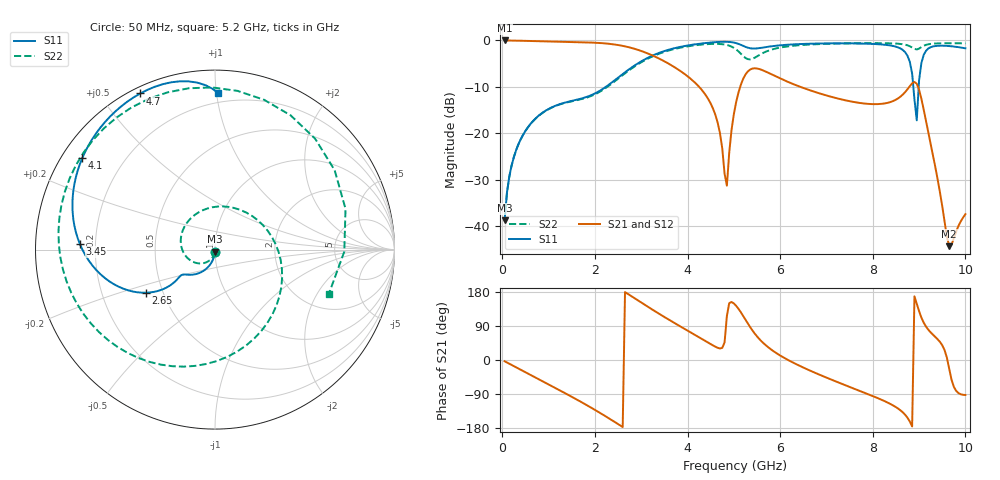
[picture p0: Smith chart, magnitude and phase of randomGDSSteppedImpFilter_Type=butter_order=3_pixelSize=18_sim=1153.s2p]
! freq	dB(S11)	phase(S11)	dB(S12)	phase(S12)
!  dB(S21)	phase(S21)	dB(S22)	phase(S22)
!S-par simulation data
#  GHz  S  DB  R 50
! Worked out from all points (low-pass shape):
!   200 points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, 50 MHz to 10 GHz, reference 50 ohm
!   highest |S21| = -0.01 dB at 50 MHz (marker M1); lowest = -44.3 dB at 9.65 GHz (marker M2)
!   |S21| within 3 dB of the highest: start of sweep to 3.189 GHz
!   lowest |S11| = -38.8 dB at 50 MHz (marker M3), VSWR 1.02, Z = 49.9 - j1.15 ohm
!   |S11| at or under -10 dB: start of sweep to 2.236 GHz; 8.876 GHz to 8.992 GHz (115.9 MHz wide, 1.3 % of centre)
!   |S22| runs from -38.8 to -0.6 dB; largest |S21 - S12| = 0
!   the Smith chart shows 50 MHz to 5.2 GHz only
!   S11 on the Smith chart (normalised r, x): 50 MHz: 1.00, -0.02; 2.65 GHz: 0.40, -0.24; 3.45 GHz: 0.14, +0.02; 4.1 GHz: 0.06, +0.31; 4.7 GHz: 0.03, +0.63; 5.2 GHz: 0.14, +1.01
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0.05  -38.76 -91.9  -0.01 -3.3  -0.01 -3.3  -38.76 -93.9
0.2  -26.97 -99.1  -0.03 -13.0  -0.03 -13.0  -27.00 -107.4
0.5  -19.47 -112.1  -0.09 -32.3  -0.09 -32.3  -19.50 -133.6
1.75  -12.39 -142.7  -0.40 -114.0  -0.40 -114.0  -12.53 93.6
2.65  -6.86 -148.0  -1.28 179.2  -1.28 179.2  -7.08 -35.6
3.4  -2.63 -180.0  -3.98 120.9  -3.98 120.9  -2.81 -120.2
3.45  -2.45 177.6  -4.24 117.2  -4.24 117.2  -2.63 -125.2
4.1  -0.93 145.4  -8.54 70.6  -8.54 70.6  -1.13 173.4
4.7  -0.31 115.5  -19.95 30.4  -19.95 30.4  -0.77 106.8
4.85  -0.30 107.4  -31.28 116.4  -31.28 116.4  -0.98 81.9
5.05  -0.58 96.0  -13.28 143.0  -13.28 143.0  -1.94 33.6
5.2  -1.16 89.0  -8.30 116.6  -8.30 116.6  -3.34 -21.1
5.4  -1.74 84.8  -6.06 78.3  -6.06 78.3  -3.96 -106.4
5.7  -1.42 77.3  -6.76 37.8  -6.76 37.8  -2.38 175.4
6.15  -0.93 59.4  -8.85 1.4  -8.85 1.4  -1.30 121.4
6.7  -0.69 35.5  -10.93 -30.9  -10.93 -30.9  -0.85 80.9
8.35  -1.04 -46.6  -13.36 -114.1  -13.36 -114.1  -0.61 -2.5
8.8  -4.62 -93.9  -9.85 -162.4  -9.85 -162.4  -1.25 -22.2
8.95  -17.21 -28.4  -9.33 148.5  -9.33 148.5  -1.94 -22.6
9.1  -3.11 -32.5  -14.91 98.5  -14.91 98.5  -1.15 -23.7
9.65  -1.21 -98.6  -44.31 -23.2  -44.31 -23.2  -0.60 -45.6
10  -1.70 -136.8  -37.41 -92.3  -37.41 -92.3  -0.63 -57.4
